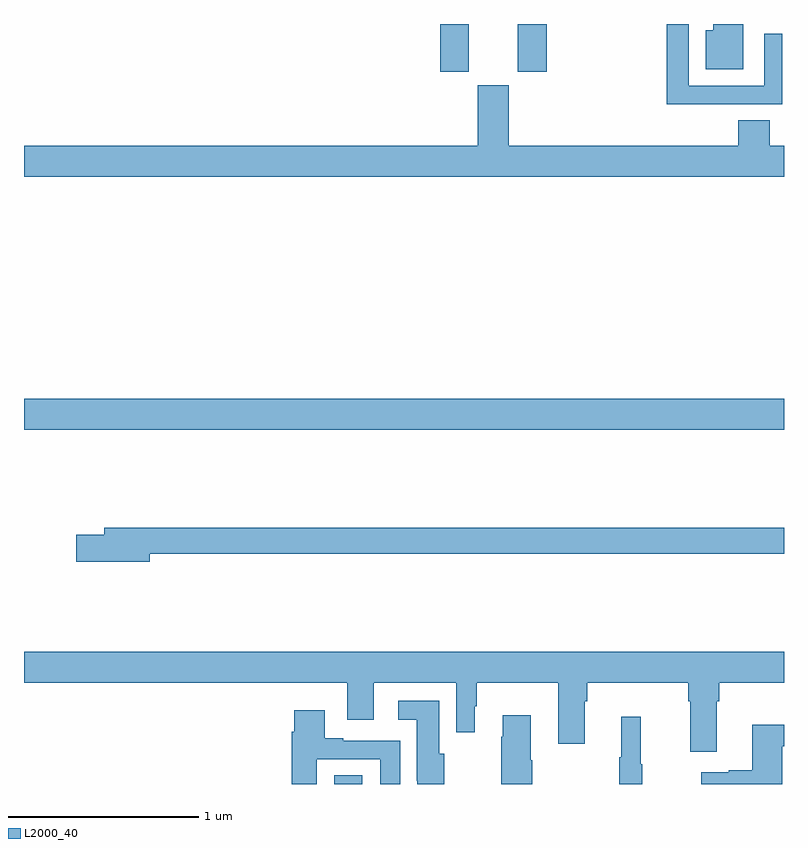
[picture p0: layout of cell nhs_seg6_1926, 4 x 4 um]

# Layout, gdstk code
import gdstk
lib = gdstk.Library(unit=1e-6, precision=1e-09)
def R(c, l, rs):  # rectangles x0, y0, x1, y1
    for r in rs: c.add(gdstk.rectangle(r[:2], r[2:], *l))
def P(c, l, *ps):  # polygons
    for p in ps: c.add(gdstk.Polygon(p, *l))
L2000_40 = (2000, 40)

nhs_seg6_1926 = lib.new_cell('nhs_seg6_1926')
R(nhs_seg6_1926, L2000_40, [(228.632,917.5,228.781,917.546), (227,919.364,231,919.528), (229.19,921.249,229.342,921.5), (229.598,921.249,229.751,921.5)])
P(nhs_seg6_1926, L2000_40, [(230.675,921.078),(230.991,921.078),(230.991,921.448),(230.895,921.448),(230.895,921.174),(230.499,921.174),(230.499,921.5),(230.383,921.5),(230.383,921.077),(230.675,921.077)],
  [(230.785,921.5),(230.627,921.5),(230.627,921.466),(230.588,921.466),(230.588,921.263),(230.785,921.263)],
  [(230.759,920.993),(230.759,920.86),(229.552,920.86),(229.552,921.177),(229.388,921.177),(229.388,920.86),(227,920.86),(227,920.696),(231,920.696),(231,920.86),(230.924,920.86),(230.924,920.993)],
  [(227.662,918.712),(231,918.712),(231,918.848),(227.423,918.848),(227.423,918.812),(227.274,918.812),(227.274,918.67),(227.662,918.67)],
  [(230.647,917.936),(230.66,917.936),(230.66,918.032),(231,918.032),(231,918.196),(227,918.196),(227,918.032),(228.701,918.032),(228.701,917.838),(228.841,917.838),(228.841,918.032),(229.275,918.032),(229.275,917.772),(229.372,917.772),(229.372,917.91),(229.384,917.91),(229.384,918.032),(229.811,918.032),(229.811,917.712),(229.951,917.712),(229.951,917.936),(229.964,917.936),(229.964,918.032),(230.495,918.032),(230.495,917.936),(230.507,917.936),(230.507,917.67),(230.647,917.67)],
  [(229.212,917.658),(229.186,917.658),(229.186,917.938),(228.969,917.938),(228.969,917.837),(229.067,917.837),(229.067,917.518),(229.071,917.518),(229.071,917.5),(229.212,917.5)],
  [(228.541,917.631),(228.875,917.631),(228.875,917.5),(228.979,917.5),(228.979,917.727),(228.679,917.727),(228.679,917.74),(228.583,917.74),(228.583,917.887),(228.422,917.887),(228.422,917.774),(228.41,917.774),(228.41,917.5),(228.541,917.5)],
  [(229.674,917.624),(229.666,917.624),(229.666,917.863),(229.52,917.863),(229.52,917.75),(229.513,917.75),(229.513,917.5),(229.674,917.5)],
  [(230.254,917.604),(230.246,917.604),(230.246,917.854),(230.144,917.854),(230.144,917.641),(230.133,917.641),(230.133,917.5),(230.254,917.5)],
  [(230.992,917.699),(231,917.699),(231,917.812),(230.834,917.812),(230.834,917.573),(230.708,917.573),(230.708,917.563),(230.565,917.563),(230.565,917.5),(230.992,917.5)])

lib.write_gds('nhs_seg6_1926.gds')
